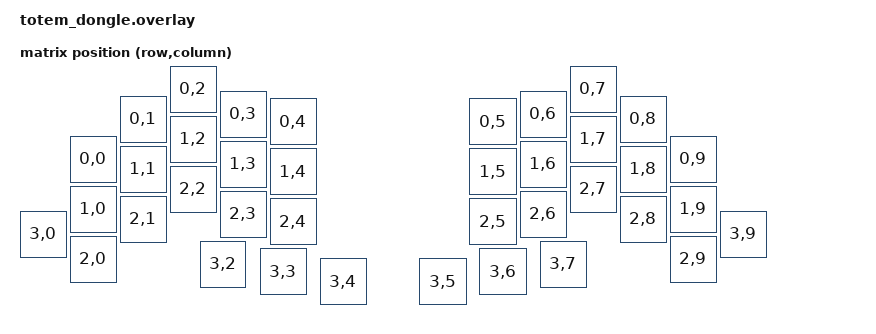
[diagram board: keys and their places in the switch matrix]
#include <dt-bindings/zmk/matrix_transform.h>
#include <physical_layouts.dtsi>

/ {
    chosen {
        zmk,kscan = &mock_kscan;
        zmk,physical-layout = &physical_layout0;
    };

    default_transform: keymap_transform_0 {
        compatible = "zmk,matrix-transform";
        columns = <10>;
        rows = <4>;
        map = <
                RC(0,0) RC(0,1) RC(0,2) RC(0,3) RC(0,4)    RC(0,5) RC(0,6) RC(0,7) RC(0,8) RC(0,9)
                RC(1,0) RC(1,1) RC(1,2) RC(1,3) RC(1,4)    RC(1,5) RC(1,6) RC(1,7) RC(1,8) RC(1,9)
        RC(3,0) RC(2,0) RC(2,1) RC(2,2) RC(2,3) RC(2,4)    RC(2,5) RC(2,6) RC(2,7) RC(2,8) RC(2,9) RC(3,9)
                                RC(3,2) RC(3,3) RC(3,4)    RC(3,5) RC(3,6) RC(3,7)
        >;
    };

    physical_layout0: physical_layout_0 {
        compatible = "zmk,physical-layout";
        display-name = "Default Layout";
        transform = <&default_transform>;

        keys
            = <&key_physical_attrs 100 100  100  140       0     0     0> // L00
            , <&key_physical_attrs 100 100  200   60       0     0     0> // L01
            , <&key_physical_attrs 100 100  300    0       0     0     0> // L02
            , <&key_physical_attrs 100 100  400   50       0     0     0> // L03
            , <&key_physical_attrs 100 100  500   65       0     0     0> // L04
            , <&key_physical_attrs 100 100  900   65       0     0     0> // R00
            , <&key_physical_attrs 100 100 1000   50       0     0     0> // R01
            , <&key_physical_attrs 100 100 1100    0       0     0     0> // R02
            , <&key_physical_attrs 100 100 1200   60       0     0     0> // R03
            , <&key_physical_attrs 100 100 1300  140       0     0     0> // R04
            , <&key_physical_attrs 100 100  100  240       0     0     0> // L10
            , <&key_physical_attrs 100 100  200  160       0     0     0> // L11
            , <&key_physical_attrs 100 100  300  100       0     0     0> // L12
            , <&key_physical_attrs 100 100  400  150       0     0     0> // L13
            , <&key_physical_attrs 100 100  500  165       0     0     0> // L14
            , <&key_physical_attrs 100 100  900  165       0     0     0> // R10
            , <&key_physical_attrs 100 100 1000  150       0     0     0> // R11
            , <&key_physical_attrs 100 100 1100  100       0     0     0> // R12
            , <&key_physical_attrs 100 100 1200  160       0     0     0> // R13
            , <&key_physical_attrs 100 100 1300  240       0     0     0> // R14
            , <&key_physical_attrs 100 100    0  290       0     0     0> // L30
            , <&key_physical_attrs 100 100  100  340       0     0     0> // L20
            , <&key_physical_attrs 100 100  200  260       0     0     0> // L21
            , <&key_physical_attrs 100 100  300  200       0     0     0> // L22
            , <&key_physical_attrs 100 100  400  250       0     0     0> // L23
            , <&key_physical_attrs 100 100  500  265       0     0     0> // L24
            , <&key_physical_attrs 100 100  900  265       0     0     0> // R20
            , <&key_physical_attrs 100 100 1000  250       0     0     0> // R21
            , <&key_physical_attrs 100 100 1100  200       0     0     0> // R22
            , <&key_physical_attrs 100 100 1200  260       0     0     0> // R23
            , <&key_physical_attrs 100 100 1300  340       0     0     0> // R24
            , <&key_physical_attrs 100 100 1400  290       0     0     0> // R34
            , <&key_physical_attrs 100 100  360  350       0     0     0> // L32
            , <&key_physical_attrs 100 100  480  365       0     0     0> // L33
            , <&key_physical_attrs 100 100  600  385       0     0     0> // L34
            , <&key_physical_attrs 100 100  800  385       0     0     0> // R30
            , <&key_physical_attrs 100 100  920  365       0     0     0> // R31
            , <&key_physical_attrs 100 100 1040  350       0     0     0> // R32
            ;
    };

    mock_kscan: mock_kscan_0 {
        compatible = "zmk,kscan-mock";
        columns = <0>;
        rows = <0>;
        events = <0>;
    };
};
